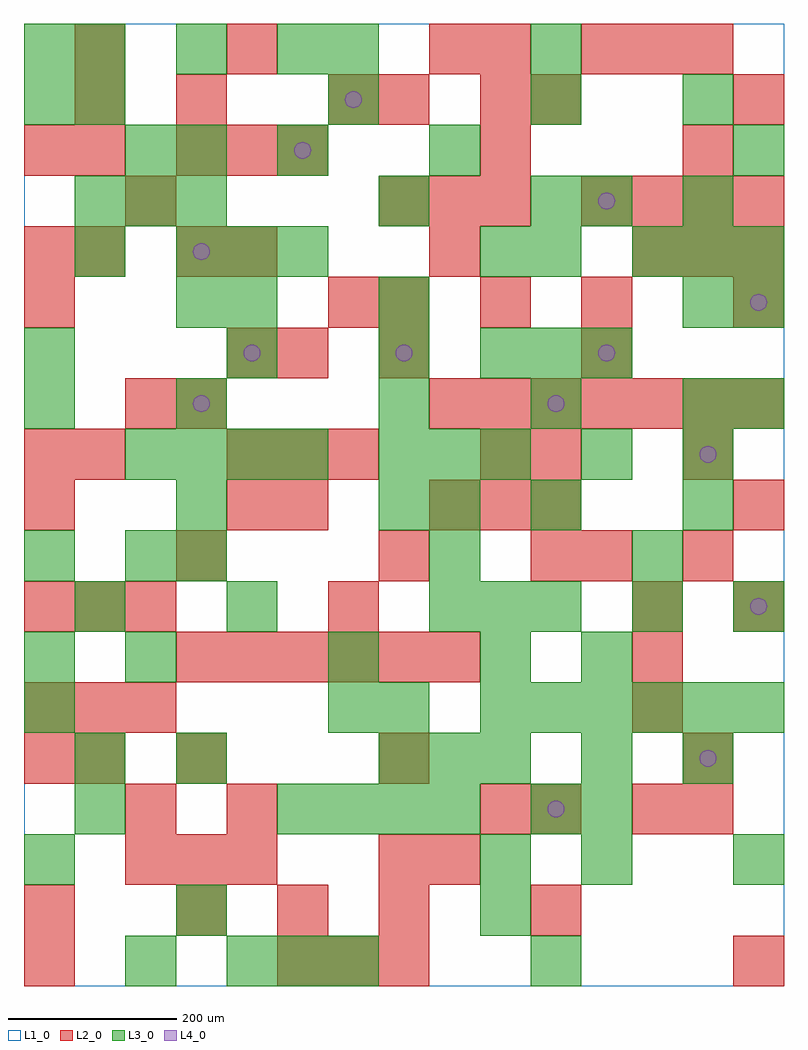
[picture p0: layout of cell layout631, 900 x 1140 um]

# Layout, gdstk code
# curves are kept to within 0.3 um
import gdstk
lib = gdstk.Library(unit=1e-6, precision=1e-09)
def R(c, l, rs):  # rectangles x0, y0, x1, y1
    for r in rs: c.add(gdstk.rectangle(r[:2], r[2:], *l))
def A(c, l, x, y, w, h, nx, ny, dx, dy):  # array of equal rectangles
    R(c, l, [(x+i*dx, y+j*dy, x+i*dx+w, y+j*dy+h) for i in range(nx) for j in range(ny)])
def P(c, l, *ps):  # polygons
    for p in ps: c.add(gdstk.Polygon(p, *l))
L1_0 = (1, 0)
L2_0 = (2, 0)
L3_0 = (3, 0)
L4_0 = (4, 0)

layout631 = lib.new_cell('layout631')
R(layout631, L1_0, [(0,0,900,1140)])
A(layout631, L2_0, 300, 0, 60, 60, 3, 1, 60, 0)
A(layout631, L2_0, 180, 60, 60, 60, 3, 1, 120, 0)
A(layout631, L2_0, 120, 120, 60, 60, 3, 1, 60, 0)
A(layout631, L2_0, 420, 240, 60, 60, 1, 3, 0, 240)
A(layout631, L2_0, 0, 300, 60, 60, 3, 2, 60, 120)
A(layout631, L2_0, 720, 300, 60, 60, 1, 3, 0, 60)
A(layout631, L2_0, 180, 360, 60, 60, 6, 1, 60, 0)
A(layout631, L2_0, 180, 480, 60, 60, 1, 4, 0, 180)
A(layout631, L2_0, 480, 540, 60, 60, 3, 1, 60, 0)
A(layout631, L2_0, 240, 600, 60, 60, 3, 1, 60, 0)
A(layout631, L2_0, 480, 660, 60, 60, 7, 1, 60, 0)
A(layout631, L2_0, 420, 780, 60, 60, 3, 1, 120, 0)
A(layout631, L2_0, 240, 840, 60, 60, 3, 1, 240, 0)
A(layout631, L2_0, 420, 900, 60, 60, 3, 1, 60, 0)
A(layout631, L2_0, 660, 900, 60, 60, 4, 1, 60, 0)
A(layout631, L2_0, 60, 960, 60, 60, 1, 3, 0, 60)
A(layout631, L2_0, 180, 960, 60, 60, 3, 1, 60, 0)
A(layout631, L2_0, 540, 960, 60, 60, 1, 3, 0, 60)
A(layout631, L2_0, 660, 1080, 60, 60, 3, 1, 60, 0)
R(layout631, L2_0, [(0,0,60,60), (840,0,900,60), (0,60,60,120), (600,60,660,120), (420,120,480,180), (480,120,540,180), (120,180,180,240), (240,180,300,240), (540,180,600,240), (600,180,660,240), (720,180,780,240), (780,180,840,240), (0,240,60,300), (60,240,120,300), (180,240,240,300), (780,240,840,300), (360,420,420,480), (840,420,900,480), (600,480,660,540), (660,480,720,540), (780,480,840,540), (0,540,60,600), (240,540,300,600), (300,540,360,600), (840,540,900,600), (0,600,60,660), (60,600,120,660), (540,600,600,660), (600,600,660,660), (780,600,840,660), (120,660,180,720), (240,720,300,780), (300,720,360,780), (660,720,720,780), (0,780,60,840), (360,780,420,840), (840,780,900,840), (0,840,60,900), (60,840,120,900), (780,840,840,900), (840,840,900,900), (120,900,180,960), (0,960,60,1020), (780,960,840,1020), (360,1020,420,1080), (420,1020,480,1080), (600,1020,660,1080), (840,1020,900,1080), (240,1080,300,1140), (480,1080,540,1140)])
A(layout631, L3_0, 240, 0, 60, 60, 3, 1, 60, 0)
A(layout631, L3_0, 660, 120, 60, 60, 1, 3, 0, 60)
A(layout631, L3_0, 300, 180, 60, 60, 4, 1, 60, 0)
A(layout631, L3_0, 420, 240, 60, 60, 3, 2, 60, 360)
A(layout631, L3_0, 540, 300, 60, 60, 6, 1, 60, 0)
A(layout631, L3_0, 480, 420, 60, 60, 3, 1, 60, 0)
A(layout631, L3_0, 180, 540, 60, 60, 1, 3, 0, 120)
A(layout631, L3_0, 120, 600, 60, 60, 4, 1, 60, 0)
A(layout631, L3_0, 420, 660, 60, 60, 3, 1, 180, 0)
A(layout631, L3_0, 540, 720, 60, 60, 3, 1, 60, 0)
A(layout631, L3_0, 780, 780, 60, 60, 1, 3, 0, 120)
A(layout631, L3_0, 180, 840, 60, 60, 3, 1, 60, 0)
A(layout631, L3_0, 720, 840, 60, 60, 3, 1, 60, 0)
A(layout631, L3_0, 60, 900, 60, 60, 3, 1, 60, 0)
A(layout631, L3_0, 60, 1080, 60, 60, 3, 1, 120, 0)
R(layout631, L3_0, [(120,0,180,60), (600,0,660,60), (180,60,240,120), (540,60,600,120), (0,120,60,180), (540,120,600,180), (840,120,900,180), (60,180,120,240), (600,180,660,240), (60,240,120,300), (180,240,240,300), (780,240,840,300), (0,300,60,360), (360,300,420,360), (420,300,480,360), (0,360,60,420), (120,360,180,420), (360,360,420,420), (540,360,600,420), (660,360,720,420), (60,420,120,480), (240,420,300,480), (720,420,780,480), (840,420,900,480), (0,480,60,540), (120,480,180,540), (180,480,240,540), (480,480,540,540), (720,480,780,540), (420,540,480,600), (480,540,540,600), (600,540,660,600), (780,540,840,600), (660,600,720,660), (780,600,840,660), (0,660,60,720), (840,660,900,720), (0,720,60,780), (240,720,300,780), (420,720,480,780), (240,780,300,840), (420,780,480,840), (840,780,900,840), (60,840,120,900), (540,840,600,900), (600,840,660,900), (420,900,480,960), (600,900,660,960), (660,900,720,960), (120,960,180,1020), (180,960,240,1020), (300,960,360,1020), (480,960,540,1020), (840,960,900,1020), (0,1020,60,1080), (60,1020,120,1080), (360,1020,420,1080), (600,1020,660,1080), (0,1080,60,1140), (360,1080,420,1140), (600,1080,660,1140)])
P(layout631, L4_0, [(220,690),(219.239,693.827),(217.071,697.071),(213.827,699.239),(210,700),(206.173,699.239),(202.929,697.071),(200.761,693.827),(200,690),(200.761,686.173),(202.929,682.929),(206.173,680.761),(210,680),(213.827,680.761),(217.071,682.929),(219.239,686.173)],
  [(220,870),(219.239,873.827),(217.071,877.071),(213.827,879.239),(210,880),(206.173,879.239),(202.929,877.071),(200.761,873.827),(200,870),(200.761,866.173),(202.929,862.929),(206.173,860.761),(210,860),(213.827,860.761),(217.071,862.929),(219.239,866.173)],
  [(280,750),(279.239,753.827),(277.071,757.071),(273.827,759.239),(270,760),(266.173,759.239),(262.929,757.071),(260.761,753.827),(260,750),(260.761,746.173),(262.929,742.929),(266.173,740.761),(270,740),(273.827,740.761),(277.071,742.929),(279.239,746.173)],
  [(340,990),(339.239,993.827),(337.071,997.071),(333.827,999.239),(330,1000),(326.173,999.239),(322.929,997.071),(320.761,993.827),(320,990),(320.761,986.173),(322.929,982.929),(326.173,980.761),(330,980),(333.827,980.761),(337.071,982.929),(339.239,986.173)],
  [(400,1050),(399.239,1053.827),(397.071,1057.071),(393.827,1059.239),(390,1060),(386.173,1059.239),(382.929,1057.071),(380.761,1053.827),(380,1050),(380.761,1046.173),(382.929,1042.929),(386.173,1040.761),(390,1040),(393.827,1040.761),(397.071,1042.929),(399.239,1046.173)],
  [(460,750),(459.239,753.827),(457.071,757.071),(453.827,759.239),(450,760),(446.173,759.239),(442.929,757.071),(440.761,753.827),(440,750),(440.761,746.173),(442.929,742.929),(446.173,740.761),(450,740),(453.827,740.761),(457.071,742.929),(459.239,746.173)],
  [(640,210),(639.239,213.827),(637.071,217.071),(633.827,219.239),(630,220),(626.173,219.239),(622.929,217.071),(620.761,213.827),(620,210),(620.761,206.173),(622.929,202.929),(626.173,200.761),(630,200),(633.827,200.761),(637.071,202.929),(639.239,206.173)],
  [(640,690),(639.239,693.827),(637.071,697.071),(633.827,699.239),(630,700),(626.173,699.239),(622.929,697.071),(620.761,693.827),(620,690),(620.761,686.173),(622.929,682.929),(626.173,680.761),(630,680),(633.827,680.761),(637.071,682.929),(639.239,686.173)],
  [(700,750),(699.239,753.827),(697.071,757.071),(693.827,759.239),(690,760),(686.173,759.239),(682.929,757.071),(680.761,753.827),(680,750),(680.761,746.173),(682.929,742.929),(686.173,740.761),(690,740),(693.827,740.761),(697.071,742.929),(699.239,746.173)],
  [(700,930),(699.239,933.827),(697.071,937.071),(693.827,939.239),(690,940),(686.173,939.239),(682.929,937.071),(680.761,933.827),(680,930),(680.761,926.173),(682.929,922.929),(686.173,920.761),(690,920),(693.827,920.761),(697.071,922.929),(699.239,926.173)],
  [(820,270),(819.239,273.827),(817.071,277.071),(813.827,279.239),(810,280),(806.173,279.239),(802.929,277.071),(800.761,273.827),(800,270),(800.761,266.173),(802.929,262.929),(806.173,260.761),(810,260),(813.827,260.761),(817.071,262.929),(819.239,266.173)],
  [(820,630),(819.239,633.827),(817.071,637.071),(813.827,639.239),(810,640),(806.173,639.239),(802.929,637.071),(800.761,633.827),(800,630),(800.761,626.173),(802.929,622.929),(806.173,620.761),(810,620),(813.827,620.761),(817.071,622.929),(819.239,626.173)],
  [(880,450),(879.239,453.827),(877.071,457.071),(873.827,459.239),(870,460),(866.173,459.239),(862.929,457.071),(860.761,453.827),(860,450),(860.761,446.173),(862.929,442.929),(866.173,440.761),(870,440),(873.827,440.761),(877.071,442.929),(879.239,446.173)],
  [(880,810),(879.239,813.827),(877.071,817.071),(873.827,819.239),(870,820),(866.173,819.239),(862.929,817.071),(860.761,813.827),(860,810),(860.761,806.173),(862.929,802.929),(866.173,800.761),(870,800),(873.827,800.761),(877.071,802.929),(879.239,806.173)])

lib.write_gds('layout631.gds')
